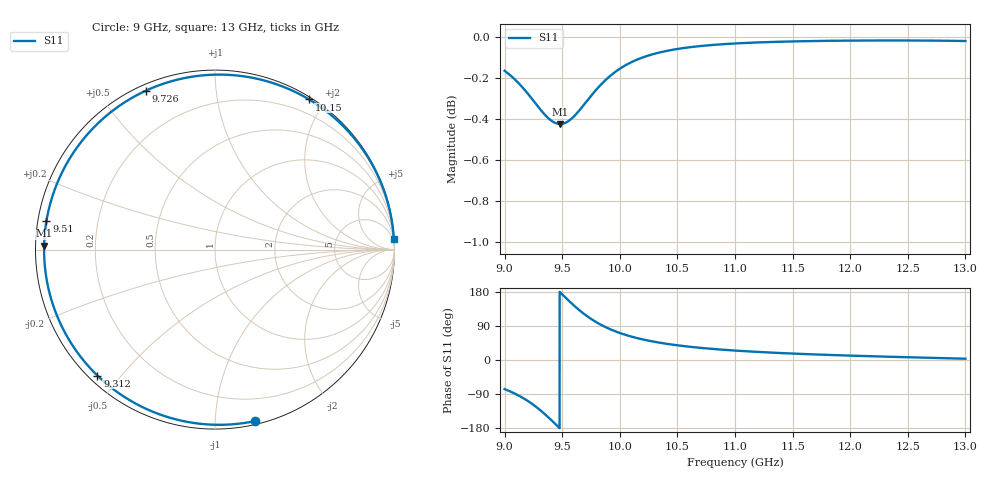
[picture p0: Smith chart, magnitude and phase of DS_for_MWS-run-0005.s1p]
! TOUCHSTONE file generated by CST DESIGN STUDIO
! Date and time: Tue Feb  4 14:09:30 2025
! Project name: C:\Work\MatlabApps\UnitCellOptimizationMatlab\CST\unitcell.cst
! Tree item: Tasks\Sweep1\SPara1\S-Parameters
! Header version: 2024
! Port assignment regex: !\s*Touchstone port\s*([0-9]+)\s*=\s*(CST MWS port|CST DES external port|CST DES block port)\s*(.+)\s* \(\"(.*)\"\)(\s*mode\s*([0-9]+))?.*
! Touchstone port assignment:
! Touchstone port 1 = CST DES external port 1 ("")
# GHz S MA R 50
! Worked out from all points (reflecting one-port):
!   4001 points, 9 GHz to 13 GHz, reference 50 ohm
!   lowest |S11| = -0.4 dB at 9.482 GHz (marker M1), VSWR 40.98, Z = 1.22 + j0.583 ohm
!   phase of S11 starts at -77 deg and turns -280 deg over the sweep
!   S11 on the Smith chart (normalised r, x): 9 GHz: 0.02, -1.26; 9.312 GHz: 0.02, -0.43; 9.51 GHz: 0.02, +0.09; 9.726 GHz: 0.03, +0.66; 10.15 GHz: 0.03, +1.81; 13 GHz: 1, +34
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9  0.9811 -76.9
9.08  0.9769 -87.4
9.178  0.9704 -103.6
9.248  0.965 -117.9
9.312  0.96 -133.0
9.357  0.9568 -144.9
9.404  0.9542 -158.2
9.444  0.9528 -169.9
9.482  0.9524 178.7
9.5  0.9525 173.3
9.51  0.9526 170.3
9.562  0.9543 155.0
9.622  0.9577 138.4
9.673  0.9615 125.5
9.726  0.9656 113.5
9.781  0.9698 102.5
9.842  0.974 92.0
9.92  0.9785 80.8
10  0.9823 71.3
10.148  0.9872 57.9
10.307  0.9906 47.7
10.5  0.9932 38.8
10.722  0.995 31.5
11  0.9963 24.9
11.5  0.9974 17.0
12  0.9979 11.5
12.5  0.9979 7.3
13  0.9976 3.4
